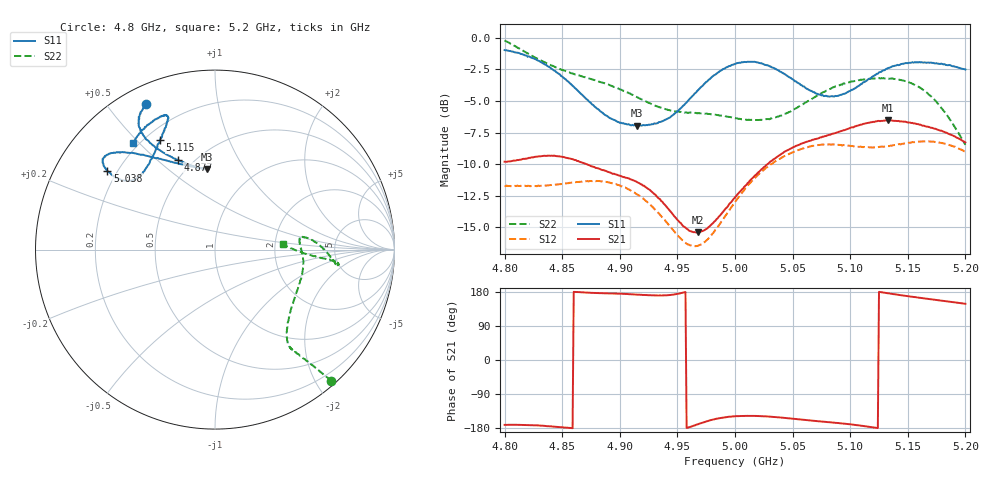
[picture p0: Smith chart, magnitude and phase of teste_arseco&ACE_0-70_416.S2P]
! Network Analyzer HP8722D
! Hewlett-Packard
! Data name: Linha & Wilkinson
! Saver's name: Rodrigo Anjos
! Comments: Teste da utilização de aquisição
! continua pelo VNA HP8722D
! Time and date: 8/5/2025 16:13
!  Frequency  S11  S21  S12  S22
# HZ  S  MA R 50
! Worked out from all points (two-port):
!   401 points, 4.8 GHz to 5.2 GHz, reference 50 ohm
!   highest |S21| = -6.53 dB at 5.133 GHz (marker M1); lowest = -15.4 dB at 4.968 GHz (marker M2)
!   |S21| within 3 dB of the highest: 4.82 GHz to 4.855 GHz (35.2 MHz wide, 0.728 % of centre); 5.035 GHz to end of sweep
!   lowest |S11| = -7.0 dB at 4.915 GHz (marker M3), VSWR 2.63, Z = 30.8 + j34.5 ohm
!   |S11| at or under -10 dB: nowhere
!   |S22| runs from -8.5 to -0.2 dB; largest |S21 - S12| = 0.83
!   S11 on the Smith chart (normalised r, x): 4.8 GHz: 0.08, +0.63; 4.877 GHz: 0.41, +0.59; 5.038 GHz: 0.16, +0.32; 5.115 GHz: 0.26, +0.59; 5.2 GHz: 0.18, +0.48
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4.8e9  0.8945 115.3  0.3236 -171.2  0.259 -86.5  0.9766 -48.4
4.832e9  0.7998 121.8  0.3404 -173.3  0.2598 -78.1  0.8115 -50.3
4.846e9  0.7257 122.1  0.3403 -176.6  0.2631 -73.6  0.7591 -51.2
4.867e9  0.5968 117.2  0.3216 178.4  0.2697 -68.5  0.7046 -52.3
4.877e9  0.5421 112.4  0.3089 177.0  0.2717 -67.5  0.6832 -52.5
4.899e9  0.4643 100.8  0.2854 174.9  0.2618 -68.2  0.6295 -50.5
4.915e9  0.4489 96.0  0.2688 172.6  0.2403 -69.9  0.5824 -46.1
4.934e9  0.4642 100.7  0.2311 170.2  0.2019 -70.4  0.532 -36.4
4.956e9  0.5431 116.0  0.1785 178.8  0.156 -59.7  0.5065 -22.0
4.968e9  0.6209 124.0  0.1698 -169.5  0.1506 -46.0  0.5037 -14.9
4.979e9  0.6935 129.5  0.1815 -158.5  0.1647 -34.2  0.4986 -9.4
5e9  0.7892 137.0  0.2335 -148.7  0.2243 -21.9  0.4809 -0.3
5.018e9  0.8017 141.3  0.2868 -147.6  0.2812 -19.7  0.4732 5.5
5.038e9  0.7425 143.8  0.3412 -151.3  0.3313 -20.1  0.4888 8.2
5.067e9  0.6144 141.5  0.3949 -160.0  0.3739 -22.5  0.5744 3.0
5.088e9  0.5885 132.3  0.4215 -165.9  0.3774 -25.7  0.6437 -3.5
5.115e9  0.6824 116.6  0.4605 -175.8  0.3689 -28.5  0.6879 -7.2
5.133e9  0.7597 110.5  0.4715 176.0  0.3731 -30.5  0.6912 -6.5
5.134e9  0.7618 110.2  0.4706 175.6  0.3728 -30.6  0.689 -6.5
5.162e9  0.8015 112.5  0.4509 163.5  0.3892 -37.6  0.629 -5.0
5.179e9  0.7908 118.4  0.4296 156.6  0.384 -43.0  0.5292 -3.2
5.2e9  0.7494 127.7  0.3857 148.4  0.3546 -48.7  0.3775 4.5
